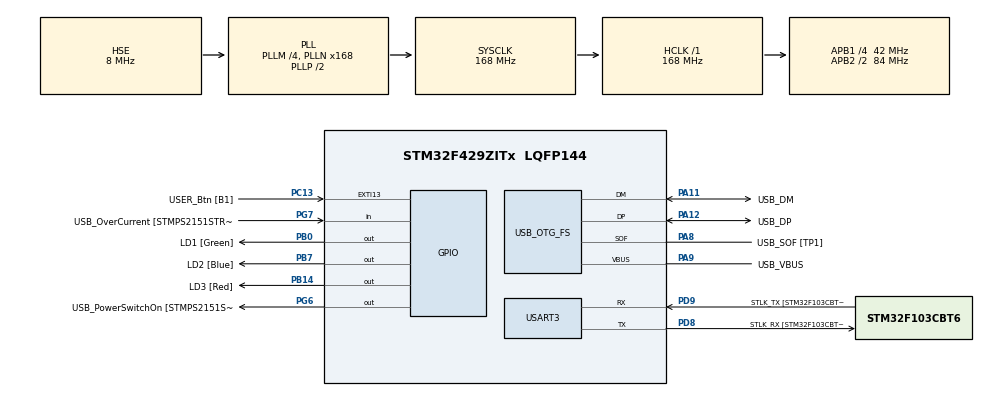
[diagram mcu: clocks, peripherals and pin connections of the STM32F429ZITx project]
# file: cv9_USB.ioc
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Mcu.Family=STM32F4
Mcu.Name=STM32F429ZITx
Mcu.Package=LQFP144
NVIC.OTG_FS_IRQn=true\:0\:0\:false\:false\:true\:false\:true\:true
NVIC.PriorityGroup=NVIC_PRIORITYGROUP_4
PA1.GPIO_Label=RMII_REF_CLK [LAN8742A-CZ-TR_REFCLK0]
PA1.Signal=ETH_REF_CLK
PA10.GPIO_Label=USB_ID
PA10.Signal=USB_OTG_FS_ID
PA11.GPIO_Label=USB_DM
PA11.Mode=Device_Only
PA11.Signal=USB_OTG_FS_DM
PA12.GPIO_Label=USB_DP
PA12.Mode=Device_Only
PA12.Signal=USB_OTG_FS_DP
PA13.GPIO_Label=TMS
PA13.Mode=Serial_Wire
PA13.Signal=SYS_JTMS-SWDIO
PA14.GPIO_Label=TCK
PA14.Mode=Serial_Wire
PA14.Signal=SYS_JTCK-SWCLK
PA2.GPIO_Label=RMII_MDIO [LAN8742A-CZ-TR_MDIO]
PA2.Signal=ETH_MDIO
PA7.GPIO_Label=RMII_CRS_DV [LAN8742A-CZ-TR_CRS_DV]
PA7.Signal=ETH_CRS_DV
PA8.GPIO_Label=USB_SOF [TP1]
PA8.Mode=Activate_SOF_FS
PA8.Signal=USB_OTG_FS_SOF
PA9.GPIO_Label=USB_VBUS
PA9.Mode=Activate_VBUS
PA9.Signal=USB_OTG_FS_VBUS
PB0.GPIO_Label=LD1 [Green]
PB0.Signal=GPIO_Output
PB13.GPIO_Label=RMII_TXD1 [LAN8742A-CZ-TR_TXD1]
PB13.Signal=ETH_TXD1
PB14.GPIO_Label=LD3 [Red]
PB14.Signal=GPIO_Output
PB7.GPIO_Label=LD2 [Blue]
PB7.Signal=GPIO_Output
PC1.GPIO_Label=RMII_MDC [LAN8742A-CZ-TR_MDC]
PC1.Signal=ETH_MDC
PC13.GPIO_Label=USER_Btn [B1]
PC13.Signal=GPXTI13
PC14/OSC32_IN.Mode=LSE-External-Oscillator
PC14/OSC32_IN.Signal=RCC_OSC32_IN
PC15/OSC32_OUT.Mode=LSE-External-Oscillator
PC15/OSC32_OUT.Signal=RCC_OSC32_OUT
PC4.GPIO_Label=RMII_RXD0 [LAN8742A-CZ-TR_RXD0]
PC4.Signal=ETH_RXD0
PC5.GPIO_Label=RMII_RXD1 [LAN8742A-CZ-TR_RXD1]
PC5.Signal=ETH_RXD1
PD8.GPIO_Label=STLK_RX [STM32F103CBT6_PA3]
PD8.Mode=Asynchronous
PD8.Signal=USART3_TX
PD9.GPIO_Label=STLK_TX [STM32F103CBT6_PA2]
PD9.Mode=Asynchronous
PD9.Signal=USART3_RX
PG11.GPIO_Label=RMII_TX_EN [LAN8742A-CZ-TR_TXEN]
PG11.Signal=ETH_TX_EN
PG13.GPIO_Label=RMII_TXD0 [LAN8742A-CZ-TR_TXD0]
PG13.Signal=ETH_TXD0
PG6.GPIO_Label=USB_PowerSwitchOn [STMPS2151STR_EN]
PG6.Signal=GPIO_Output
PG7.GPIO_Label=USB_OverCurrent [STMPS2151STR_FAULT]
PG7.Signal=GPIO_Input
PH0/OSC_IN.GPIO_Label=MCO [STM32F103CBT6_PA8]
PH0/OSC_IN.Mode=HSE-External-Clock-Source
PH0/OSC_IN.Signal=RCC_OSC_IN
PH1/OSC_OUT.Mode=HSE-External-Clock-Source
PH1/OSC_OUT.Signal=RCC_OSC_OUT
ProjectManager.HeapSize=0x200
ProjectManager.StackSize=0x400
ProjectManager.TargetToolchain=STM32CubeIDE
RCC.48MHZClocksFreq_Value=48000000
RCC.AHBFreq_Value=168000000
RCC.APB1CLKDivider=RCC_HCLK_DIV4
RCC.APB1Freq_Value=42000000
RCC.APB1TimFreq_Value=84000000
RCC.APB2CLKDivider=RCC_HCLK_DIV2
RCC.APB2Freq_Value=84000000
RCC.APB2TimCLKDivider=2
RCC.APB2TimFreq_Value=168000000
RCC.CortexFreq_Value=168000000
RCC.HCLKFreq_Value=168000000
RCC.HSE_VALUE=8000000
RCC.HSI_VALUE=16000000
RCC.PLLM=4
RCC.PLLMUL=RCC_PLL_MUL9
RCC.PLLN=168
RCC.PLLQ=7
RCC.PRESCALERUSB=RCC_USBCLKSOURCE_PLL_DIV1_5
RCC.SYSCLKFreq_VALUE=168000000
RCC.SYSCLKSource=RCC_SYSCLKSOURCE_PLLCLK
RCC.SYSCLKSourceVirtual=RCC_SYSCLKSOURCE_PLLCLK
RCC.USBFreq_Value=48000000
RCC.VCOOutputFreq_Value=336000000
USART3.VirtualMode=VM_ASYNC
USB_DEVICE.CLASS_NAME_FS=HID
USB_DEVICE.VirtualMode-HID_FS=Hid
USB_DEVICE.VirtualModeFS=Hid_FS
USB_OTG_FS.VirtualMode=Device_Only
VP_USB_DEVICE_VS_USB_DEVICE_HID_FS.Mode=HID_FS
board=NUCLEO-F429ZI

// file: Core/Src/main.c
/* USER CODE BEGIN Header */
/**
  ******************************************************************************
  * @file           : main.c
  * @brief          : Main program body
  ******************************************************************************
  * @attention
  *
  * Copyright (c) 2024 STMicroelectronics.
  * All rights reserved.
  *
  * This software is licensed under terms that can be found in the LICENSE file
  * in the root directory of this software component.
  * If no LICENSE file comes with this software, it is provided AS-IS.
  *
  ******************************************************************************
  */
/* USER CODE END Header */
#include "main.h"
#include "usb_device.h"

/* USER CODE BEGIN Includes */
#include "usbd_hid.h"
#include <math.h>
/* USER CODE END Includes */

UART_HandleTypeDef huart3;

void SystemClock_Config(void);
static void MX_GPIO_Init(void);
static void MX_USART3_UART_Init(void);

/* USER CODE BEGIN 0 */
extern USBD_HandleTypeDef hUsbDeviceFS;

void step(int32_t x ,int32_t y,uint8_t clik)
{
	  uint8_t buff[4];
	   buff[0] = clik; // press the left button
	   buff[1] = x; // shift X +10
	   buff[2] = y; // shift Y -3
	   buff[3] = 0; // no scroll
	   USBD_HID_SendReport(&hUsbDeviceFS, buff, sizeof(buff));
	   HAL_Delay(USBD_HID_GetPollingInterval(&hUsbDeviceFS));
}
/* USER CODE END 0 */

int main(void)
{

  /* MCU Configuration--------------------------------------------------------*/

  /* Reset of all peripherals, Initializes the Flash interface and the Systick. */
  HAL_Init();

  /* Configure the system clock */
  SystemClock_Config();

  /* Initialize all configured peripherals */
  MX_GPIO_Init();
  MX_USART3_UART_Init();
  MX_USB_DEVICE_Init();

  /* Infinite loop */
  while (1)
  {

	  /* USER CODE BEGIN 3 */

	  if(HAL_GPIO_ReadPin(USER_Btn_GPIO_Port, USER_Btn_Pin)){
		  step(0,0,0);
		  int32_t sx;
		  int32_t sy;

		  for(float phi=0;phi<=(2*3.14f)+0.2;phi+=0.1)
		  {

			  static uint16_t r=100;
			  float x=r * cosf(phi);
			  float y=r * sinf(phi);

			  int32_t dx=x-sx;
			  int32_t dy=y-sy;
			  sy+=dy;
			  sx+=dx;

			  step(dx,dy,1);
		  }

		  step(0,0,0);

		  step(-100,-20,0);
		  step(0,0,1);
		  step(0,40,0);
		  step(0,0,0);

		  step(50,-40,0);

		  for(float phi=0;phi<=(2*3.14f);phi+=0.1)
		  {

			  static uint16_t l=20;
			  float x=l * cosf(phi);
			  float y=l * sinf(phi);

			  int32_t dx=x-sx;
			  int32_t dy=y-sy;
			  sy+=dy;
			  sx+=dx;

			  step(dx,dy,1);
		  }
		  step(0,0,0);
		  step(100,0,0);

		  for(float phi=0;phi<=(2*3.14f);phi+=0.1)
		  {

			  static uint16_t l=20;
			  float x=l * cosf(phi);
			  float y=l * sinf(phi);

			  int32_t dx=x-sx;
			  int32_t dy=y-sy;
			  sy+=dy;
			  sx+=dx;

			  step(dx,dy,1);
		  }

		  step(0,0,0);
		  step(-50,0,0);
		  for(float phi=3.14f/4; phi<=(3.14f/4 + 3.14f/2);phi+=0.1)
		  {

			  static uint16_t p=70;
			  float x=p * cosf(phi);
			  float y=p * sinf(phi);

			  int32_t dx=x-sx;
			  int32_t dy=y-sy;
			  sy+=dy;
			  sx+=dx;

			  step(dx,dy,1);
		  }

		  step(0,0,0);
	  }
  }
  /* USER CODE END 3 */
}

void SystemClock_Config(void)
{
  RCC_OscInitTypeDef RCC_OscInitStruct = {0};
  RCC_ClkInitTypeDef RCC_ClkInitStruct = {0};

  /** Configure the main internal regulator output voltage
  */
  __HAL_RCC_PWR_CLK_ENABLE();
  __HAL_PWR_VOLTAGESCALING_CONFIG(PWR_REGULATOR_VOLTAGE_SCALE1);

  /** Initializes the RCC Oscillators according to the specified parameters
  * in the RCC_OscInitTypeDef structure.
  */
  RCC_OscInitStruct.OscillatorType = RCC_OSCILLATORTYPE_HSE;
  RCC_OscInitStruct.HSEState = RCC_HSE_BYPASS;
  RCC_OscInitStruct.PLL.PLLState = RCC_PLL_ON;
  RCC_OscInitStruct.PLL.PLLSource = RCC_PLLSOURCE_HSE;
  RCC_OscInitStruct.PLL.PLLM = 4;
  RCC_OscInitStruct.PLL.PLLN = 168;
  RCC_OscInitStruct.PLL.PLLP = RCC_PLLP_DIV2;
  RCC_OscInitStruct.PLL.PLLQ = 7;
  if (HAL_RCC_OscConfig(&RCC_OscInitStruct) != HAL_OK)
  {
    Error_Handler();
  }

  /** Initializes the CPU, AHB and APB buses clocks
  */
  RCC_ClkInitStruct.ClockType = RCC_CLOCKTYPE_HCLK|RCC_CLOCKTYPE_SYSCLK
                              |RCC_CLOCKTYPE_PCLK1|RCC_CLOCKTYPE_PCLK2;
  RCC_ClkInitStruct.SYSCLKSource = RCC_SYSCLKSOURCE_PLLCLK;
  RCC_ClkInitStruct.AHBCLKDivider = RCC_SYSCLK_DIV1;
  RCC_ClkInitStruct.APB1CLKDivider = RCC_HCLK_DIV4;
  RCC_ClkInitStruct.APB2CLKDivider = RCC_HCLK_DIV2;

  if (HAL_RCC_ClockConfig(&RCC_ClkInitStruct, FLASH_LATENCY_5) != HAL_OK)
  {
    Error_Handler();
  }
}

static void MX_USART3_UART_Init(void)
{

  huart3.Instance = USART3;
  huart3.Init.BaudRate = 115200;
  huart3.Init.WordLength = UART_WORDLENGTH_8B;
  huart3.Init.StopBits = UART_STOPBITS_1;
  huart3.Init.Parity = UART_PARITY_NONE;
  huart3.Init.Mode = UART_MODE_TX_RX;
  huart3.Init.HwFlowCtl = UART_HWCONTROL_NONE;
  huart3.Init.OverSampling = UART_OVERSAMPLING_16;
  if (HAL_UART_Init(&huart3) != HAL_OK)
  {
    Error_Handler();
  }

}

static void MX_GPIO_Init(void)
{
  GPIO_InitTypeDef GPIO_InitStruct = {0};

  /* GPIO Ports Clock Enable */
  __HAL_RCC_GPIOC_CLK_ENABLE();
  __HAL_RCC_GPIOH_CLK_ENABLE();
  __HAL_RCC_GPIOA_CLK_ENABLE();
  __HAL_RCC_GPIOB_CLK_ENABLE();
  __HAL_RCC_GPIOD_CLK_ENABLE();
  __HAL_RCC_GPIOG_CLK_ENABLE();

  /*Configure GPIO pin Output Level */
  HAL_GPIO_WritePin(GPIOB, LD1_Pin|LD3_Pin|LD2_Pin, GPIO_PIN_RESET);

  /*Configure GPIO pin Output Level */
  HAL_GPIO_WritePin(USB_PowerSwitchOn_GPIO_Port, USB_PowerSwitchOn_Pin, GPIO_PIN_RESET);

  /*Configure GPIO pin : USER_Btn_Pin */
  GPIO_InitStruct.Pin = USER_Btn_Pin;
  GPIO_InitStruct.Mode = GPIO_MODE_IT_RISING;
  GPIO_InitStruct.Pull = GPIO_NOPULL;
  HAL_GPIO_Init(USER_Btn_GPIO_Port, &GPIO_InitStruct);

  /*Configure GPIO pins : RMII_MDC_Pin RMII_RXD0_Pin RMII_RXD1_Pin */
  GPIO_InitStruct.Pin = RMII_MDC_Pin|RMII_RXD0_Pin|RMII_RXD1_Pin;
  GPIO_InitStruct.Mode = GPIO_MODE_AF_PP;
  GPIO_InitStruct.Pull = GPIO_NOPULL;
  GPIO_InitStruct.Speed = GPIO_SPEED_FREQ_VERY_HIGH;
  GPIO_InitStruct.Alternate = GPIO_AF11_ETH;
  HAL_GPIO_Init(GPIOC, &GPIO_InitStruct);

  /*Configure GPIO pins : RMII_REF_CLK_Pin RMII_MDIO_Pin RMII_CRS_DV_Pin */
  GPIO_InitStruct.Pin = RMII_REF_CLK_Pin|RMII_MDIO_Pin|RMII_CRS_DV_Pin;
  GPIO_InitStruct.Mode = GPIO_MODE_AF_PP;
  GPIO_InitStruct.Pull = GPIO_NOPULL;
  GPIO_InitStruct.Speed = GPIO_SPEED_FREQ_VERY_HIGH;
  GPIO_InitStruct.Alternate = GPIO_AF11_ETH;
  HAL_GPIO_Init(GPIOA, &GPIO_InitStruct);

  /*Configure GPIO pins : LD1_Pin LD3_Pin LD2_Pin */
  GPIO_InitStruct.Pin = LD1_Pin|LD3_Pin|LD2_Pin;
  GPIO_InitStruct.Mode = GPIO_MODE_OUTPUT_PP;
  GPIO_InitStruct.Pull = GPIO_NOPULL;
  GPIO_InitStruct.Speed = GPIO_SPEED_FREQ_LOW;
  HAL_GPIO_Init(GPIOB, &GPIO_InitStruct);

  /*Configure GPIO pin : RMII_TXD1_Pin */
  GPIO_InitStruct.Pin = RMII_TXD1_Pin;
  GPIO_InitStruct.Mode = GPIO_MODE_AF_PP;
  GPIO_InitStruct.Pull = GPIO_NOPULL;
  GPIO_InitStruct.Speed = GPIO_SPEED_FREQ_VERY_HIGH;
  GPIO_InitStruct.Alternate = GPIO_AF11_ETH;
  HAL_GPIO_Init(RMII_TXD1_GPIO_Port, &GPIO_InitStruct);

  /*Configure GPIO pin : USB_PowerSwitchOn_Pin */
  GPIO_InitStruct.Pin = USB_PowerSwitchOn_Pin;
  GPIO_InitStruct.Mode = GPIO_MODE_OUTPUT_PP;
  GPIO_InitStruct.Pull = GPIO_NOPULL;
  GPIO_InitStruct.Speed = GPIO_SPEED_FREQ_LOW;
  HAL_GPIO_Init(USB_PowerSwitchOn_GPIO_Port, &GPIO_InitStruct);

  /*Configure GPIO pin : USB_OverCurrent_Pin */
  GPIO_InitStruct.Pin = USB_OverCurrent_Pin;
  GPIO_InitStruct.Mode = GPIO_MODE_INPUT;
  GPIO_InitStruct.Pull = GPIO_NOPULL;
  HAL_GPIO_Init(USB_OverCurrent_GPIO_Port, &GPIO_InitStruct);

  /*Configure GPIO pins : RMII_TX_EN_Pin RMII_TXD0_Pin */
  GPIO_InitStruct.Pin = RMII_TX_EN_Pin|RMII_TXD0_Pin;
  GPIO_InitStruct.Mode = GPIO_MODE_AF_PP;
  GPIO_InitStruct.Pull = GPIO_NOPULL;
  GPIO_InitStruct.Speed = GPIO_SPEED_FREQ_VERY_HIGH;
  GPIO_InitStruct.Alternate = GPIO_AF11_ETH;
  HAL_GPIO_Init(GPIOG, &GPIO_InitStruct);

}

void Error_Handler(void)
{
  __disable_irq();
  while (1)
  {
  }
}
